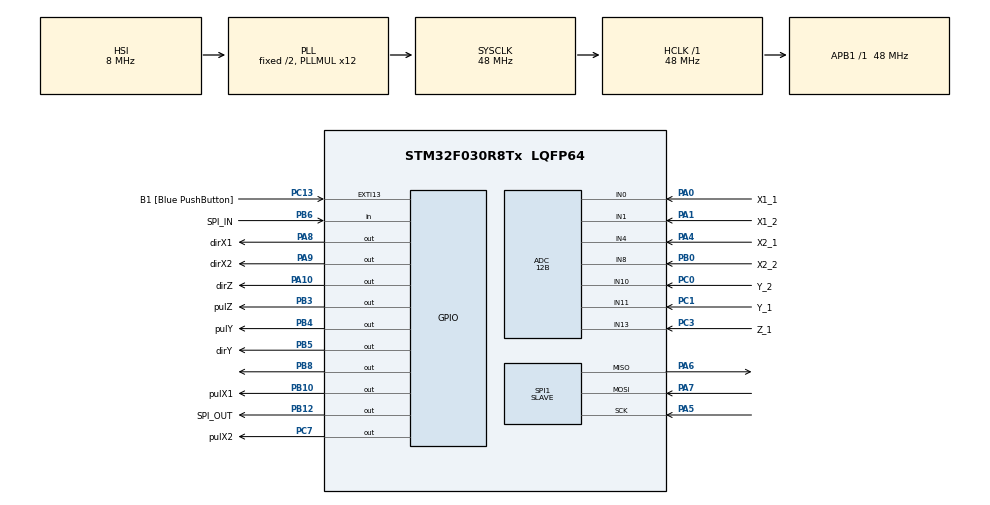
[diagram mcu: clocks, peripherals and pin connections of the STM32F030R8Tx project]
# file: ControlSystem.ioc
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ADC.ContinuousConvMode=ENABLE
ADC.DMAContinuousRequests=ENABLE
ADC.Resolution=ADC_RESOLUTION_12B
ADC.SamplingTime=ADC_SAMPLETIME_239CYCLES_5
Dma.ADC.0.Direction=DMA_PERIPH_TO_MEMORY
Dma.ADC.0.Instance=DMA1_Channel1
Dma.ADC.0.MemDataAlignment=DMA_MDATAALIGN_HALFWORD
Dma.ADC.0.MemInc=DMA_MINC_ENABLE
Dma.ADC.0.Mode=DMA_CIRCULAR
Dma.ADC.0.PeriphDataAlignment=DMA_PDATAALIGN_HALFWORD
Dma.ADC.0.PeriphInc=DMA_PINC_DISABLE
Dma.ADC.0.Priority=DMA_PRIORITY_LOW
Dma.Request0=ADC
Mcu.Family=STM32F0
Mcu.Name=STM32F030R8Tx
Mcu.Package=LQFP64
NVIC.DMA1_Channel1_IRQn=true\:0\:0\:false\:false\:true\:false\:true\:true
NVIC.SPI1_IRQn=true\:1\:0\:true\:false\:true\:true\:true\:true
NVIC.TIM14_IRQn=true\:0\:0\:false\:false\:true\:true\:true\:true
NVIC.TIM16_IRQn=true\:0\:0\:false\:false\:true\:true\:true\:true
NVIC.TIM17_IRQn=true\:0\:0\:false\:false\:true\:true\:true\:true
PA0.GPIO_Label=X1_1
PA0.Mode=IN0
PA0.Signal=ADC_IN0
PA1.GPIO_Label=X1_2
PA1.Mode=IN1
PA1.Signal=ADC_IN1
PA10.GPIO_Label=dirZ
PA10.Signal=GPIO_Output
PA13.GPIO_Label=TMS
PA13.Mode=Serial_Wire
PA13.Signal=SYS_SWDIO
PA14.GPIO_Label=TCK
PA14.Mode=Serial_Wire
PA14.Signal=SYS_SWCLK
PA2.GPIO_Label=USART_TX
PA2.GPIO_Mode=GPIO_MODE_AF_PP
PA2.GPIO_PuPd=GPIO_NOPULL
PA2.GPIO_Speed=GPIO_SPEED_FREQ_LOW
PA2.Signal=USART2_TX
PA3.GPIO_Label=USART_RX
PA3.GPIO_Mode=GPIO_MODE_AF_PP
PA3.GPIO_PuPd=GPIO_NOPULL
PA3.GPIO_Speed=GPIO_SPEED_FREQ_LOW
PA3.Signal=USART2_RX
PA4.GPIO_Label=X2_1
PA4.Mode=IN4
PA4.Signal=ADC_IN4
PA5.Mode=Full_Duplex_Slave
PA5.Signal=SPI1_SCK
PA6.Mode=Full_Duplex_Slave
PA6.Signal=SPI1_MISO
PA7.Mode=Full_Duplex_Slave
PA7.Signal=SPI1_MOSI
PA8.GPIO_Label=dirX1
PA8.Signal=GPIO_Output
PA9.GPIO_Label=dirX2
PA9.Signal=GPIO_Output
PB0.GPIO_Label=X2_2
PB0.Mode=IN8
PB0.Signal=ADC_IN8
PB10.GPIO_Label=pulX1
PB10.Signal=GPIO_Output
PB12.GPIO_Label=SPI_OUT
PB12.Signal=GPIO_Output
PB3.GPIO_Label=pulZ
PB3.Signal=GPIO_Output
PB4.GPIO_Label=pulY
PB4.Signal=GPIO_Output
PB5.GPIO_Label=dirY
PB5.Signal=GPIO_Output
PB6.GPIO_Label=SPI_IN
PB6.Signal=GPIO_Input
PB8.Signal=GPIO_Output
PC0.GPIO_Label=Y_2
PC0.Mode=IN10
PC0.Signal=ADC_IN10
PC1.GPIO_Label=Y_1
PC1.Mode=IN11
PC1.Signal=ADC_IN11
PC13.GPIO_Label=B1 [Blue PushButton]
PC13.GPIO_ModeDefaultEXTI=GPIO_MODE_IT_FALLING
PC13.Signal=GPXTI13
PC14-OSC32_IN.Mode=LSE-External-Oscillator
PC14-OSC32_IN.Signal=RCC_OSC32_IN
PC15-OSC32_OUT.Mode=LSE-External-Oscillator
PC15-OSC32_OUT.Signal=RCC_OSC32_OUT
PC3.GPIO_Label=Z_1
PC3.Mode=IN13
PC3.Signal=ADC_IN13
PC7.GPIO_Label=pulX2
PC7.Signal=GPIO_Output
PF0-OSC_IN.Mode=HSE-External-Clock-Source
PF0-OSC_IN.Signal=RCC_OSC_IN
PF1-OSC_OUT.Signal=RCC_OSC_OUT
ProjectManager.HeapSize=0x200
ProjectManager.StackSize=0x400
ProjectManager.TargetToolchain=STM32CubeIDE
RCC.AHBFreq_Value=48000000
RCC.APB1Freq_Value=48000000
RCC.APB1TimFreq_Value=48000000
RCC.HCLKFreq_Value=48000000
RCC.PLLMUL=RCC_PLL_MUL12
RCC.SYSCLKFreq_VALUE=48000000
RCC.SYSCLKSource=RCC_SYSCLKSOURCE_PLLCLK
SPI1.DataSize=SPI_DATASIZE_8BIT
SPI1.Direction=SPI_DIRECTION_2LINES
SPI1.Mode=SPI_MODE_SLAVE
SPI1.VirtualType=VM_SLAVE
TIM14.Period=4800
TIM16.Period=4800
TIM17.Period=4800
TIM17.Prescaler=0
VP_TIM14_VS_ClockSourceINT.Mode=Enable_Timer
VP_TIM16_VS_ClockSourceINT.Mode=Enable_Timer
VP_TIM17_VS_ClockSourceINT.Mode=Enable_Timer
VP_TIM1_VS_ClockSourceINT.Mode=Internal
VP_TIM1_VS_ClockSourceITR.Mode=TriggerSource_ITR3
board=NUCLEO-F030R8

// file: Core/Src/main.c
/* USER CODE BEGIN Header */
/**
  ******************************************************************************
  * @file           : main.c
  * @brief          : Main program body
  ******************************************************************************
  * @attention
  *
  * Copyright (c) 2025 STMicroelectronics.
  * All rights reserved.
  *
  * This software is licensed under terms that can be found in the LICENSE file
  * in the root directory of this software component.
  * If no LICENSE file comes with this software, it is provided AS-IS.
  *
  ******************************************************************************
  */
/* USER CODE END Header */
#include "main.h"

/* USER CODE BEGIN Includes */

#include <stdlib.h>

/* USER CODE END Includes */

/* USER CODE BEGIN PTD */

// Axis variables for code organization
typedef enum AxisNames
{
	X = 0,
	Y = 1,
	Z = 2,
	END

} Axis;

// Axis directions for calculations
typedef enum AxisOrient
{
	Pos = 0,
	Neg = 1

} Dirctn;

// States of the main code
typedef enum MainLoopStates
{
	Init = 0,
	Home = 1,
	Idle = 2,
	Move = 3,

} MainStates;

// GCode decoding variables
typedef enum GcodeFirstByte
{
	Hme = 0,
	Abs = 1,
	Rel = 2,
	Err = 9

} GcodeCMD;

typedef struct axisVariables
{
    Axis Axis;

    TIM_TypeDef* Timer;

    uint8_t MovementMask;

    uint32_t DefaultLimit;
    float Millimeters;
    float DefaultStepPerMM;

    uint16_t* Hall[2];
    uint16_t* Hall2[2];

    // Positioning variables for each axis
    uint32_t CurPos;
    uint32_t ReqPos;
    uint32_t StampPos;

    // Acceleration variables for each axis
    Dirctn Dir;
    uint16_t AccVal;

    // Limits and conversions for each axis
    // These values are theoretical and will be overwritten by homing
    uint32_t Limit;
    float StepPerMM;

} ControlSystem;

/* USER CODE END PTD */

/* USER CODE BEGIN PD */

#define AXES_NUM 3

#define GCODE_BYTES 8
#define CHECKSUM_BYTES 1

#define ADC_NUM 7

#define HALL_LOW 0x7ff

// Acceleration limitations
#define ACC_START 0
#define ACC_END 150
#define ACC_END_LOW 20

// Offset of the acceleration calculations
#define ACC_OFF 1500

// The number of steps between each acceleration
#define ACC_STEPS 100

// The highest hypothetical position allowed
#define LIM_POS 0x80000000

// Flag masks
#define X_MASK 0x01
#define Y_MASK 0x02
#define Z_MASK 0x04

#define RX_MASK 0x08
#define TX_MASK 0x10

#define HME_MASK 0x20

/* USER CODE END PD */

/* USER CODE BEGIN PM */

// Acceleration equation
#define GET_DELAY(A) (((ACC_END - Axes[A].AccVal) * 20) + ACC_OFF)

// Direction transformations
#define DIR_X2(dir) (~dir & 0x01)
#define DIR_Z(dir) (~dir & 0x01)

// Timer macros
#define STOP_TIM(A) 	(Axes[A].Timer->CR1 &= (~((uint8_t)TIM_CR1_CEN)))
#define START_TIM(A) (Axes[A].Timer->CR1 |= TIM_CR1_CEN)
#define RST_TIM(A) 	(Axes[A].Timer->CNT = 0)
#define LIM_TIM(A) 	(Axes[A].Timer->ARR)

// Movement flag macros
#define SET_MFLAG(A) (Flags = Flags | Axes[A].MovementMask)
#define RST_MFLAG(A) (Flags = Flags & ~Axes[A].MovementMask)
#define TST_MFLAG(A) (Flags & Axes[A].MovementMask)
#define TST_MFLAG_ALL() (Flags & (AxisFlagMasks[X]+AxisFlagMasks[Y]+AxisFlagMasks[Z]))

// Communication flag macros
#define SET_RXFLAG() (Flags = Flags | RX_MASK)
#define RST_RXFLAG() (Flags = Flags & ~RX_MASK)
#define TST_RXFLAG() (Flags & RX_MASK)

#define SET_TXFLAG() (Flags = Flags | TX_MASK)
#define RST_TXFLAG() (Flags = Flags & ~TX_MASK)
#define TST_TXFLAG() (Flags & TX_MASK)

// Homing flag macros
#define SET_HMEFLAG() (Flags = Flags | HME_MASK)
#define RST_HMEFLAG() (Flags = Flags & ~HME_MASK)
#define TST_HMEFLAG() (Flags & HME_MASK)

/* USER CODE END PM */

ADC_HandleTypeDef hadc;
DMA_HandleTypeDef hdma_adc;

SPI_HandleTypeDef hspi1;

TIM_HandleTypeDef htim1;
TIM_HandleTypeDef htim14;
TIM_HandleTypeDef htim16;
TIM_HandleTypeDef htim17;

/* USER CODE BEGIN PV */

// Flags for macros
const uint8_t AxisFlagMasks[AXES_NUM] = {X_MASK, Y_MASK, Z_MASK};

// Assigning timer addresses for each axis
const TIM_TypeDef* AxisTimers[AXES_NUM] = {TIM14, TIM16, TIM17};

// Default values before homing
const uint32_t 	LimitDefault[AXES_NUM] = 	{0x12ffff, 0x4ffff, 685900};
float 			LimitReal[AXES_NUM] = 		{5702.3,   1530.35, 438.15};
const float	 	StepPerMMDefault[AXES_NUM] = {214,      214,     1565.48442314};

// Buffer for ADC DMA to be mapped
uint16_t ADC_DMA_Buf[ADC_NUM] = {0};

// Assigning sensor addresses from the buffer
const uint16_t* HallNegX2 = ADC_DMA_Buf + 0;
const uint16_t* HallPosX2 = ADC_DMA_Buf + 1;
const uint16_t* HallNegX = 	ADC_DMA_Buf + 2;
const uint16_t* HallPosX = 	ADC_DMA_Buf + 3;
const uint16_t* HallNegY = 	ADC_DMA_Buf + 4;
const uint16_t* HallPosY = 	ADC_DMA_Buf + 5;
const uint16_t* HallPosZ = 	ADC_DMA_Buf + 6;

// SPI variables
uint8_t RX_Buffer [GCODE_BYTES] = {0};
uint8_t TX_Buffer [CHECKSUM_BYTES] = {0};

volatile uint32_t RXcount = 0;
volatile uint32_t TXcount = 0;

ControlSystem Axes[AXES_NUM];

// State machine variables
MainStates MainState;
volatile uint8_t Flags;

/* USER CODE END PV */

void SystemClock_Config(void);
static void MX_GPIO_Init(void);
static void MX_DMA_Init(void);
static void MX_TIM1_Init(void);
static void MX_TIM17_Init(void);
static void MX_TIM14_Init(void);
static void MX_TIM16_Init(void);
static void MX_SPI1_Init(void);
static void MX_ADC_Init(void);
/* USER CODE BEGIN PFP */

void GPIOWrite(GPIO_TypeDef* GPIOx, uint16_t GPIO_Pin, GPIO_PinState PinState);
int GPIORead(GPIO_TypeDef* GPIOx, uint16_t GPIO_Pin);
void GPIOToggle(GPIO_TypeDef* GPIOx, uint16_t GPIO_Pin);

void InitAxis(Axis A);

void Accelerate(Axis A);
void Deccelerate(Axis A);
void SetDirection(Axis A);

void LowAccelerationHandle(Axis A);
void MaxAccelerationHandle(Axis A);

void HomeAxis(Axis A);

void StopCheck(Axis A);
void StopCheckHall(Axis A);
void RequestCheck(Axis A);

uint32_t GetSPICrd(Axis A);
void ParseGCode(void);

void SetPIPinActive(void);
void SetPIPinIdle(void);
int ReadPIPin(void);

/* USER CODE END PFP */

int main(void)
{

  /* MCU Configuration--------------------------------------------------------*/

  /* Reset of all peripherals, Initializes the Flash interface and the Systick. */
  HAL_Init();

  /* Configure the system clock */
  SystemClock_Config();

  /* Initialize all configured peripherals */
  MX_GPIO_Init();
  MX_DMA_Init();
  MX_TIM1_Init();
  MX_TIM17_Init();
  MX_TIM14_Init();
  MX_TIM16_Init();
  MX_SPI1_Init();
  MX_ADC_Init();
  /* USER CODE BEGIN 2 */

  // initiate DMA mapping
  HAL_ADC_Start_DMA(&hadc, (uint32_t*)ADC_DMA_Buf, ADC_NUM);

  // Setup SPI and allot time for hardware
  HAL_SPI_Receive_IT(&hspi1, RX_Buffer, GCODE_BYTES); //Receiving in Interrupt mode
  HAL_Delay(100);

  // Set all directions to default positive
  GPIOWrite(dirX1_GPIO_Port, dirX1_Pin, Pos);
  GPIOWrite(dirX2_GPIO_Port, dirX2_Pin, DIR_X2(Pos));
  GPIOWrite(dirY_GPIO_Port,  dirY_Pin,  Pos);
  GPIOWrite(dirZ_GPIO_Port,  dirZ_Pin,  Pos);

  // Reset all stepper driving pins to
  GPIOWrite(pulX1_GPIO_Port, pulX1_Pin, GPIO_PIN_RESET);
  GPIOWrite(pulX2_GPIO_Port, pulX2_Pin, GPIO_PIN_RESET);
  GPIOWrite(pulY_GPIO_Port,  pulY_Pin,  GPIO_PIN_RESET);
  GPIOWrite(pulZ_GPIO_Port,  pulZ_Pin,  GPIO_PIN_RESET);

  // Setup all timers in interrupt mode
  HAL_TIM_Base_Start_IT(&htim14);
  HAL_TIM_Base_Start_IT(&htim16);
  HAL_TIM_Base_Start_IT(&htim17);

  // Stop all timers to stop motor movement
  for( Axis A = X; A < END; A++)
	  STOP_TIM(A);

  // Initialize all variables
  for( Axis A = X; A < END; A++)
  {
	  InitAxis(A);

	  RST_TIM(A);
	  LIM_TIM(A) = GET_DELAY(A);
  }

  MainState = Init;
  Flags = 0x00;

  //SET_HMEFLAG();

  /* USER CODE END 2 */

  /* Infinite loop */
  while (1)
  {

    /* USER CODE BEGIN 3 */

	  switch(MainState)
	  {
		  case Init:

			  MainState = Init;
			  SetPIPinIdle();

			  // Only exit Init if the PI allows
			  if(ReadPIPin())
			  {
				  if(TST_HMEFLAG())
					  MainState = Home;
				  else
					  MainState = Idle;
			  }

			  break;

		  case Home:

			  MainState = Home;
			  SetPIPinActive();

			  for( Axis A = X; A < END; A++)
				  HomeAxis(A);

			  RST_HMEFLAG();
			  MainState = Idle;

			  break;

		  case Idle:

			  MainState = Idle;
			  SetPIPinIdle();

			  // If SPI received, calculate and send checksum
			  if(TST_RXFLAG())
			  {
					TX_Buffer[0] = 0;

					for(int i = 0; i < GCODE_BYTES; i++)
					  TX_Buffer[0] += RX_Buffer[i];

					HAL_SPI_Transmit_IT(&hspi1, TX_Buffer, CHECKSUM_BYTES); //Sending in Interrupt mode

					RST_RXFLAG();
			  }

			  // If checksum sent, wait for PI confirmation or another RX
			  if(ReadPIPin() && TST_TXFLAG())
			  {
				  RST_TXFLAG();

				  ParseGCode();

				  // Check which, if any, axes need to be moved
				  for( Axis A = X; A < END; A++)
					  RequestCheck(A);

				  // If movement requested, initiate appropriate timers
				  if(TST_MFLAG_ALL())
				  {
					  MainState = Move;
					  SetPIPinActive();

					  for( Axis A = X; A < END; A++)
						  if(TST_MFLAG(A))
							  START_TIM(A);
				  }

			  }

			  if(TST_HMEFLAG())
				  MainState = Home;

			  break;

		  case Move:

			  MainState = Move;

			  // Handle accelerations
			  for( Axis A = X; A < END; A++)
				  if(TST_MFLAG(A))
					  MaxAccelerationHandle(A);

			  // Return to idle once all movement is done
			  if(TST_MFLAG_ALL() == 0)
				  MainState = Idle;

			  break;

		  default:
			  MainState = Idle;
			  break;

	  }

	  // Emergency motor stop
	  if(GPIORead(B1_GPIO_Port,  B1_Pin) == 0)
	  {
		  // Immediately stop all motors
		  for( Axis A = X; A < END; A++)
			  STOP_TIM(A);

		  // Initialize all variables
		  for( Axis A = X; A < END; A++)
		  {
			  InitAxis(A);

			  RST_TIM(A);
			  LIM_TIM(A) = GET_DELAY(A);
		  }

		  MainState = Idle;

		  // Blocking delay to hold completely idle during any button bouncing
		  HAL_Delay(100);

		  // Wait for another button press
		  while(GPIORead(B1_GPIO_Port,  B1_Pin));
	  }
  }
  /* USER CODE END 3 */
}

void SystemClock_Config(void)
{
  RCC_OscInitTypeDef RCC_OscInitStruct = {0};
  RCC_ClkInitTypeDef RCC_ClkInitStruct = {0};

  /** Initializes the RCC Oscillators according to the specified parameters
  * in the RCC_OscInitTypeDef structure.
  */
  RCC_OscInitStruct.OscillatorType = RCC_OSCILLATORTYPE_HSI|RCC_OSCILLATORTYPE_HSI14;
  RCC_OscInitStruct.HSIState = RCC_HSI_ON;
  RCC_OscInitStruct.HSI14State = RCC_HSI14_ON;
  RCC_OscInitStruct.HSICalibrationValue = RCC_HSICALIBRATION_DEFAULT;
  RCC_OscInitStruct.HSI14CalibrationValue = 16;
  RCC_OscInitStruct.PLL.PLLState = RCC_PLL_ON;
  RCC_OscInitStruct.PLL.PLLSource = RCC_PLLSOURCE_HSI;
  RCC_OscInitStruct.PLL.PLLMUL = RCC_PLL_MUL12;
  RCC_OscInitStruct.PLL.PREDIV = RCC_PREDIV_DIV1;
  if (HAL_RCC_OscConfig(&RCC_OscInitStruct) != HAL_OK)
  {
    Error_Handler();
  }

  /** Initializes the CPU, AHB and APB buses clocks
  */
  RCC_ClkInitStruct.ClockType = RCC_CLOCKTYPE_HCLK|RCC_CLOCKTYPE_SYSCLK
                              |RCC_CLOCKTYPE_PCLK1;
  RCC_ClkInitStruct.SYSCLKSource = RCC_SYSCLKSOURCE_PLLCLK;
  RCC_ClkInitStruct.AHBCLKDivider = RCC_SYSCLK_DIV1;
  RCC_ClkInitStruct.APB1CLKDivider = RCC_HCLK_DIV1;

  if (HAL_RCC_ClockConfig(&RCC_ClkInitStruct, FLASH_LATENCY_1) != HAL_OK)
  {
    Error_Handler();
  }
}

static void MX_ADC_Init(void)
{

  ADC_ChannelConfTypeDef sConfig = {0};

  /** Configure the global features of the ADC (Clock, Resolution, Data Alignment and number of conversion)
  */
  hadc.Instance = ADC1;
  hadc.Init.ClockPrescaler = ADC_CLOCK_ASYNC_DIV1;
  hadc.Init.Resolution = ADC_RESOLUTION_12B;
  hadc.Init.DataAlign = ADC_DATAALIGN_RIGHT;
  hadc.Init.ScanConvMode = ADC_SCAN_DIRECTION_FORWARD;
  hadc.Init.EOCSelection = ADC_EOC_SINGLE_CONV;
  hadc.Init.LowPowerAutoWait = DISABLE;
  hadc.Init.LowPowerAutoPowerOff = DISABLE;
  hadc.Init.ContinuousConvMode = ENABLE;
  hadc.Init.DiscontinuousConvMode = DISABLE;
  hadc.Init.ExternalTrigConv = ADC_SOFTWARE_START;
  hadc.Init.ExternalTrigConvEdge = ADC_EXTERNALTRIGCONVEDGE_NONE;
  hadc.Init.DMAContinuousRequests = ENABLE;
  hadc.Init.Overrun = ADC_OVR_DATA_PRESERVED;
  if (HAL_ADC_Init(&hadc) != HAL_OK)
  {
    Error_Handler();
  }

  /** Configure for the selected ADC regular channel to be converted.
  */
  sConfig.Channel = ADC_CHANNEL_0;
  sConfig.Rank = ADC_RANK_CHANNEL_NUMBER;
  sConfig.SamplingTime = ADC_SAMPLETIME_239CYCLES_5;
  if (HAL_ADC_ConfigChannel(&hadc, &sConfig) != HAL_OK)
  {
    Error_Handler();
  }

  /** Configure for the selected ADC regular channel to be converted.
  */
  sConfig.Channel = ADC_CHANNEL_1;
  if (HAL_ADC_ConfigChannel(&hadc, &sConfig) != HAL_OK)
  {
    Error_Handler();
  }

  /** Configure for the selected ADC regular channel to be converted.
  */
  sConfig.Channel = ADC_CHANNEL_4;
  if (HAL_ADC_ConfigChannel(&hadc, &sConfig) != HAL_OK)
  {
    Error_Handler();
  }

  /** Configure for the selected ADC regular channel to be converted.
  */
  sConfig.Channel = ADC_CHANNEL_8;
  if (HAL_ADC_ConfigChannel(&hadc, &sConfig) != HAL_OK)
  {
    Error_Handler();
  }

  /** Configure for the selected ADC regular channel to be converted.
  */
  sConfig.Channel = ADC_CHANNEL_10;
  if (HAL_ADC_ConfigChannel(&hadc, &sConfig) != HAL_OK)
  {
    Error_Handler();
  }

  /** Configure for the selected ADC regular channel to be converted.
  */
  sConfig.Channel = ADC_CHANNEL_11;
  if (HAL_ADC_ConfigChannel(&hadc, &sConfig) != HAL_OK)
  {
    Error_Handler();
  }

  /** Configure for the selected ADC regular channel to be converted.
  */
  sConfig.Channel = ADC_CHANNEL_13;
  if (HAL_ADC_ConfigChannel(&hadc, &sConfig) != HAL_OK)
  {
    Error_Handler();
  }

}

static void MX_SPI1_Init(void)
{

  /* SPI1 parameter configuration*/
  hspi1.Instance = SPI1;
  hspi1.Init.Mode = SPI_MODE_SLAVE;
  hspi1.Init.Direction = SPI_DIRECTION_2LINES;
  hspi1.Init.DataSize = SPI_DATASIZE_8BIT;
  hspi1.Init.CLKPolarity = SPI_POLARITY_LOW;
  hspi1.Init.CLKPhase = SPI_PHASE_1EDGE;
  hspi1.Init.NSS = SPI_NSS_SOFT;
  hspi1.Init.FirstBit = SPI_FIRSTBIT_MSB;
  hspi1.Init.TIMode = SPI_TIMODE_DISABLE;
  hspi1.Init.CRCCalculation = SPI_CRCCALCULATION_DISABLE;
  hspi1.Init.CRCPolynomial = 7;
  hspi1.Init.CRCLength = SPI_CRC_LENGTH_DATASIZE;
  hspi1.Init.NSSPMode = SPI_NSS_PULSE_DISABLE;
  if (HAL_SPI_Init(&hspi1) != HAL_OK)
  {
    Error_Handler();
  }

}

static void MX_TIM1_Init(void)
{

  TIM_ClockConfigTypeDef sClockSourceConfig = {0};
  TIM_SlaveConfigTypeDef sSlaveConfig = {0};
  TIM_MasterConfigTypeDef sMasterConfig = {0};

  htim1.Instance = TIM1;
  htim1.Init.Prescaler = 0;
  htim1.Init.CounterMode = TIM_COUNTERMODE_UP;
  htim1.Init.Period = 65535;
  htim1.Init.ClockDivision = TIM_CLOCKDIVISION_DIV1;
  htim1.Init.RepetitionCounter = 0;
  htim1.Init.AutoReloadPreload = TIM_AUTORELOAD_PRELOAD_DISABLE;
  if (HAL_TIM_Base_Init(&htim1) != HAL_OK)
  {
    Error_Handler();
  }
  sClockSourceConfig.ClockSource = TIM_CLOCKSOURCE_INTERNAL;
  if (HAL_TIM_ConfigClockSource(&htim1, &sClockSourceConfig) != HAL_OK)
  {
    Error_Handler();
  }
  sSlaveConfig.SlaveMode = TIM_SLAVEMODE_DISABLE;
  sSlaveConfig.InputTrigger = TIM_TS_ITR3;
  if (HAL_TIM_SlaveConfigSynchro(&htim1, &sSlaveConfig) != HAL_OK)
  {
    Error_Handler();
  }
  sMasterConfig.MasterOutputTrigger = TIM_TRGO_RESET;
  sMasterConfig.MasterSlaveMode = TIM_MASTERSLAVEMODE_DISABLE;
  if (HAL_TIMEx_MasterConfigSynchronization(&htim1, &sMasterConfig) != HAL_OK)
  {
    Error_Handler();
  }

}

static void MX_TIM14_Init(void)
{

  htim14.Instance = TIM14;
  htim14.Init.Prescaler = 0;
  htim14.Init.CounterMode = TIM_COUNTERMODE_UP;
  htim14.Init.Period = 4800;
  htim14.Init.ClockDivision = TIM_CLOCKDIVISION_DIV1;
  htim14.Init.AutoReloadPreload = TIM_AUTORELOAD_PRELOAD_DISABLE;
  if (HAL_TIM_Base_Init(&htim14) != HAL_OK)
  {
    Error_Handler();
  }

}

static void MX_TIM16_Init(void)
{

  htim16.Instance = TIM16;
  htim16.Init.Prescaler = 0;
  htim16.Init.CounterMode = TIM_COUNTERMODE_UP;
  htim16.Init.Period = 4800;
  htim16.Init.ClockDivision = TIM_CLOCKDIVISION_DIV1;
  htim16.Init.RepetitionCounter = 0;
  htim16.Init.AutoReloadPreload = TIM_AUTORELOAD_PRELOAD_DISABLE;
  if (HAL_TIM_Base_Init(&htim16) != HAL_OK)
  {
    Error_Handler();
  }

}

static void MX_TIM17_Init(void)
{

  htim17.Instance = TIM17;
  htim17.Init.Prescaler = 0;
  htim17.Init.CounterMode = TIM_COUNTERMODE_UP;
  htim17.Init.Period = 4800;
  htim17.Init.ClockDivision = TIM_CLOCKDIVISION_DIV1;
  htim17.Init.RepetitionCounter = 0;
  htim17.Init.AutoReloadPreload = TIM_AUTORELOAD_PRELOAD_DISABLE;
  if (HAL_TIM_Base_Init(&htim17) != HAL_OK)
  {
    Error_Handler();
  }

}

static void MX_DMA_Init(void)
{

  /* DMA controller clock enable */
  __HAL_RCC_DMA1_CLK_ENABLE();

  /* DMA interrupt init */
  /* DMA1_Channel1_IRQn interrupt configuration */
  HAL_NVIC_SetPriority(DMA1_Channel1_IRQn, 0, 0);
  HAL_NVIC_EnableIRQ(DMA1_Channel1_IRQn);

}

static void MX_GPIO_Init(void)
{
  GPIO_InitTypeDef GPIO_InitStruct = {0};

  /* GPIO Ports Clock Enable */
  __HAL_RCC_GPIOC_CLK_ENABLE();
  __HAL_RCC_GPIOF_CLK_ENABLE();
  __HAL_RCC_GPIOA_CLK_ENABLE();
  __HAL_RCC_GPIOB_CLK_ENABLE();

  /*Configure GPIO pin Output Level */
  HAL_GPIO_WritePin(GPIOB, pulX1_Pin|SPI_OUT_Pin|pulZ_Pin|pulY_Pin
                          |dirY_Pin|GPIO_PIN_8, GPIO_PIN_RESET);

  /*Configure GPIO pin Output Level */
  HAL_GPIO_WritePin(pulX2_GPIO_Port, pulX2_Pin, GPIO_PIN_RESET);

  /*Configure GPIO pin Output Level */
  HAL_GPIO_WritePin(GPIOA, dirX1_Pin|dirX2_Pin|dirZ_Pin, GPIO_PIN_RESET);

  /*Configure GPIO pin : B1_Pin */
  GPIO_InitStruct.Pin = B1_Pin;
  GPIO_InitStruct.Mode = GPIO_MODE_IT_FALLING;
  GPIO_InitStruct.Pull = GPIO_NOPULL;
  HAL_GPIO_Init(B1_GPIO_Port, &GPIO_InitStruct);

  /*Configure GPIO pins : USART_TX_Pin USART_RX_Pin */
  GPIO_InitStruct.Pin = USART_TX_Pin|USART_RX_Pin;
  GPIO_InitStruct.Mode = GPIO_MODE_AF_PP;
  GPIO_InitStruct.Pull = GPIO_NOPULL;
  GPIO_InitStruct.Speed = GPIO_SPEED_FREQ_LOW;
  GPIO_InitStruct.Alternate = GPIO_AF1_USART2;
  HAL_GPIO_Init(GPIOA, &GPIO_InitStruct);

  /*Configure GPIO pins : pulX1_Pin SPI_OUT_Pin pulZ_Pin pulY_Pin
                           dirY_Pin PB8 */
  GPIO_InitStruct.Pin = pulX1_Pin|SPI_OUT_Pin|pulZ_Pin|pulY_Pin
                          |dirY_Pin|GPIO_PIN_8;
  GPIO_InitStruct.Mode = GPIO_MODE_OUTPUT_PP;
  GPIO_InitStruct.Pull = GPIO_NOPULL;
  GPIO_InitStruct.Speed = GPIO_SPEED_FREQ_LOW;
  HAL_GPIO_Init(GPIOB, &GPIO_InitStruct);

  /*Configure GPIO pin : pulX2_Pin */
  GPIO_InitStruct.Pin = pulX2_Pin;
  GPIO_InitStruct.Mode = GPIO_MODE_OUTPUT_PP;
  GPIO_InitStruct.Pull = GPIO_NOPULL;
  GPIO_InitStruct.Speed = GPIO_SPEED_FREQ_LOW;
  HAL_GPIO_Init(pulX2_GPIO_Port, &GPIO_InitStruct);

  /*Configure GPIO pins : dirX1_Pin dirX2_Pin dirZ_Pin */
  GPIO_InitStruct.Pin = dirX1_Pin|dirX2_Pin|dirZ_Pin;
  GPIO_InitStruct.Mode = GPIO_MODE_OUTPUT_PP;
  GPIO_InitStruct.Pull = GPIO_NOPULL;
  GPIO_InitStruct.Speed = GPIO_SPEED_FREQ_LOW;
  HAL_GPIO_Init(GPIOA, &GPIO_InitStruct);

  /*Configure GPIO pin : SPI_IN_Pin */
  GPIO_InitStruct.Pin = SPI_IN_Pin;
  GPIO_InitStruct.Mode = GPIO_MODE_INPUT;
  GPIO_InitStruct.Pull = GPIO_NOPULL;
  HAL_GPIO_Init(SPI_IN_GPIO_Port, &GPIO_InitStruct);

}

/* USER CODE BEGIN 4 */

/**
  * @brief Writes a digital value to GPIO
  * @param GPIOx	The GPIO register
  * @param GPIO_Pin	The register bit
  * @param PinState	The value to write
  * @retval None
  */
void GPIOWrite(GPIO_TypeDef* GPIOx, uint16_t GPIO_Pin, GPIO_PinState PinState)
{
	  if (PinState)
	    GPIOx->BSRR = (uint32_t)GPIO_Pin;
	  else
	    GPIOx->BRR = (uint32_t)GPIO_Pin;
}

/**
  * @brief Reads a digital value from GPIO
  * @param GPIOx	The GPIO register
  * @param GPIO_Pin	The register bit
  * @retval The GPIO value
  */
int GPIORead(GPIO_TypeDef* GPIOx, uint16_t GPIO_Pin)
{
	  if (GPIOx->IDR & GPIO_Pin)
		  return GPIO_PIN_SET;
	  else
		  return GPIO_PIN_RESET;
}

/**
  * @brief Toggles a GPIO pin
  * @param GPIOx	The GPIO register
  * @param GPIO_Pin	The register bit
  * @retval None
  */
void GPIOToggle(GPIO_TypeDef* GPIOx, uint16_t GPIO_Pin)
{
	  GPIOx->BSRR = ((GPIOx->ODR & GPIO_Pin) << 16U) | (~(GPIOx->ODR) & GPIO_Pin);
}

/**
  * @brief intitializes Axis control variables
  * @param A 	The axis to apply to
  * @retval None
  */
void InitAxis(Axis A)
{
	  Axes[A].Axis = A;
	  Axes[A].Timer = (TIM_TypeDef*)AxisTimers[A];
	  Axes[A].MovementMask = AxisFlagMasks[A];
	  Axes[A].DefaultLimit = LimitDefault[A];
	  Axes[A].Millimeters = LimitReal[A];
	  Axes[A].DefaultStepPerMM = StepPerMMDefault[A];

	  switch(A)
	  {
	  	  case X:
			  Axes[A].Hall[Pos] = (uint16_t*)HallPosX;
			  Axes[A].Hall[Neg] = (uint16_t*)HallNegX;
			  Axes[A].Hall2[Pos] = (uint16_t*)HallPosX2;
			  Axes[A].Hall2[Neg] = (uint16_t*)HallNegX2;
	  		  break;

	  	  case Y:
			  Axes[A].Hall[Pos] = (uint16_t*)HallPosY;
			  Axes[A].Hall[Neg] = (uint16_t*)HallNegY;
			  Axes[A].Hall2[Pos] = (uint16_t*)HallPosY;
			  Axes[A].Hall2[Neg] = (uint16_t*)HallNegY;
	  		  break;

	  	  case Z:
			  Axes[A].Hall[Pos] = (uint16_t*)HallPosZ;
			  Axes[A].Hall[Neg] = (uint16_t*)HallPosZ;
			  Axes[A].Hall2[Pos] = (uint16_t*)HallPosZ;
			  Axes[A].Hall2[Neg] = (uint16_t*)HallPosZ;
	  		  break;

	  	  default:
	  		  break;
	  }

	  Axes[A].CurPos = 0;
	  Axes[A].ReqPos = 0;
	  Axes[A].StampPos = 0;
	  Axes[A].Dir = Pos;
	  Axes[A].AccVal = ACC_START;
	  Axes[A].Limit = Axes[A].DefaultLimit;
	  Axes[A].StepPerMM = Axes[A].DefaultStepPerMM;
}

/**
  * @brief Accelerates if applicable
  * @param A	The axis to apply to
  * @retval None
  */
void Accelerate(Axis A)
{
	if(Axes[A].AccVal >= ACC_END)
		Axes[A].AccVal = ACC_END;
	else
		Axes[A].AccVal++;

	return;
}

/**
  * @brief Deccelerates if applicable
  * @param A	The axis to apply to
  * @retval None
  */
void Deccelerate(Axis A)
{
	if(Axes[A].AccVal <= ACC_START)
		Axes[A].AccVal = ACC_START;
	else
		Axes[A].AccVal--;

	return;
}

/**
  * @brief Sets the direction of the motors
  * @param A	The axis to apply to
  * @retval None
  */
void SetDirection(Axis A)
{
	switch(A)
	{
		case X:
			if(Axes[X].Dir)
			{
				GPIOWrite(dirX1_GPIO_Port, dirX1_Pin, Neg);
				GPIOWrite(dirX2_GPIO_Port, dirX2_Pin, DIR_X2(Neg));
			}
			else
			{
				GPIOWrite(dirX1_GPIO_Port, dirX1_Pin, Pos);
				GPIOWrite(dirX2_GPIO_Port, dirX2_Pin, DIR_X2(Pos));
			}
			break;

		case Y:
			if(Axes[Y].Dir)
				GPIOWrite(dirY_GPIO_Port,  dirY_Pin,  Neg);
			else
				GPIOWrite(dirY_GPIO_Port,  dirY_Pin,  Pos);
			break;

		case Z:
			if(Axes[Z].Dir)
				GPIOWrite(dirZ_GPIO_Port,  dirZ_Pin,  DIR_Z(Neg));
			else
				GPIOWrite(dirZ_GPIO_Port,  dirZ_Pin,  DIR_Z(Pos));
			break;

		default:
			break;
	}
}

/**
  * @brief Determines the type of acceleration needed and calls the appropriate function, accelerates to a smaller value
  * @param A	The axis to apply to
  * @retval None
  */
void LowAccelerationHandle(Axis A)
{
	if(abs((int)Axes[A].CurPos - (int)Axes[A].StampPos) > ACC_STEPS)
	{
		if(abs((int)Axes[A].ReqPos - (int)Axes[A].CurPos) > Axes[A].AccVal)
		{
			if(Axes[A].AccVal <= ACC_END_LOW)
				Accelerate(A);
		}
		else
			Deccelerate(A);

	  LIM_TIM(A) =  GET_DELAY(A);
	  Axes[A].StampPos = Axes[A].CurPos;
	}
}

/**
  * @brief Determines the type of acceleration needed and calls the appropriate function
  * @param A	The axis to apply to
  * @retval None
  */
void MaxAccelerationHandle(Axis A)
{
	if(abs((int)Axes[A].CurPos - (int)Axes[A].StampPos) > ACC_STEPS)
	{
	  if(abs((int)Axes[A].ReqPos - (int)Axes[A].CurPos) > Axes[A].AccVal * ACC_STEPS)
			Accelerate(A);
		else
			Deccelerate(A);

	  LIM_TIM(A) =  GET_DELAY(A);
	  Axes[A].StampPos = Axes[A].CurPos;
	}
}

/**
  * @brief Determines and sets the limit values
  * @param A	The axis to apply to
  * @retval None
  */
void HomeAxis(Axis A)
{
	switch(A)
	{
		case X:

			// Set requested position to reasonably theoretical limit in the positive direction
			Axes[X].CurPos = 0;
			Axes[X].ReqPos = Axes[X].DefaultLimit;
			SET_MFLAG(X);

			Axes[X].Dir = Pos;
			SetDirection(X);

			// Reset movement values and start timer
			Axes[X].AccVal = ACC_START;
			Axes[X].StampPos = Axes[X].CurPos;

			RST_TIM(X);
			LIM_TIM(X) =  GET_DELAY(X);

			START_TIM(X);

			// Wait for Hall sensor to trigger and stop
			while(*HallPosX > HALL_LOW || *HallPosX2 > HALL_LOW)
			{
			  LowAccelerationHandle(X); // Accelerate to a lower than normal because deceleration is impossible to predict

			  if(TST_MFLAG(X))
				  break;
			}

			STOP_TIM(X);

			// Set current position to reasonably theoretical limit and move in the negative direction
			Axes[X].CurPos = Axes[X].DefaultLimit;
			Axes[X].ReqPos = 0;

			Axes[X].Dir = Neg;
			SetDirection(X);

			// Reset movement values and start timer
			Axes[X].AccVal = ACC_START;
			Axes[X].StampPos = Axes[X].CurPos;

			RST_TIM(X);
			LIM_TIM(X) =  GET_DELAY(X);

			START_TIM(X);

			// Wait for Hall sensor to trigger and stop
			while(*HallNegX > HALL_LOW || *HallNegX2 > HALL_LOW)
			{
			  LowAccelerationHandle(X); // Accelerate to a lower than normal because deceleration is impossible to predict

			  if(TST_MFLAG(X))
				  break;
			}

			STOP_TIM(X);

			// Calculate the exact limit and ratio and set position to 0
			Axes[X].Limit = Axes[X].DefaultLimit - Axes[X].CurPos;
			Axes[X].StepPerMM = Axes[X].Limit / Axes[X].Millimeters;

			Axes[X].CurPos = 0;

			RST_MFLAG(X);

			break;

		case Y:

			// Set requested position to reasonably theoretical limit in the positive direction
			Axes[Y].CurPos = 0;
			Axes[Y].ReqPos = Axes[Y].DefaultLimit;
			SET_MFLAG(Y);

			Axes[Y].Dir = Pos;
			SetDirection(Y);

			// Reset movement values and start timer
			Axes[Y].AccVal = ACC_START;
			Axes[Y].StampPos = Axes[Y].CurPos;

			RST_TIM(Y);
			LIM_TIM(Y) =  GET_DELAY(Y);

			START_TIM(Y);

			// Wait for Hall sensor to trigger and stop
			while(*HallPosY > HALL_LOW)
			{
			  LowAccelerationHandle(Y); // Accelerate to a lower than normal because deceleration is impossible to predict

			  if(TST_MFLAG(X))
				  break;
			}

			STOP_TIM(Y);

			// Set current position to reasonably theoretical limit and move in the negative direction
			Axes[Y].CurPos = Axes[Y].DefaultLimit;
			Axes[Y].ReqPos = 0;

			Axes[Y].Dir = Neg;
			SetDirection(Y);

			// Reset movement values and start timer
			Axes[Y].AccVal = ACC_START;
			Axes[Y].StampPos = Axes[Y].CurPos;

			RST_TIM(Y);
			LIM_TIM(Y) =  GET_DELAY(Y);

			START_TIM(Y);

			// Wait for Hall sensor to trigger and stop
			while(*HallNegY > HALL_LOW)
			{
			  LowAccelerationHandle(Y);  // Accelerate to a lower than normal because deceleration is impossible to predict

			  if(TST_MFLAG(Y))
				  break;
			}

			STOP_TIM(Y);

			// Calculate the exact limit and ratio and set position to 0
			Axes[Y].Limit = Axes[Y].DefaultLimit - Axes[Y].CurPos;
			Axes[Y].StepPerMM = Axes[Y].Limit / Axes[Y].Millimeters;

			Axes[Y].CurPos = 0;

			RST_MFLAG(Y);

			break;

		case Z:

			// Set current position to reasonably theoretical limit and move in the negative direction
			Axes[Z].CurPos = Axes[Z].DefaultLimit;
			Axes[Z].ReqPos = 0;
			SET_MFLAG(Z);

			Axes[Z].Dir = Neg;
			SetDirection(Z);

			// Reset movement values and start timer
			Axes[Z].AccVal = ACC_START;
			Axes[Z].StampPos = Axes[Z].CurPos;

			RST_TIM(Z);
			LIM_TIM(Z) =  GET_DELAY(Z);

			START_TIM(Z);

			// Wait for Hall sensor to trigger and stop
			while(*HallPosZ > HALL_LOW)
			{
			  LowAccelerationHandle(Z); // Accelerate to a lower than normal because deceleration is impossible to predict

			  if(TST_MFLAG(Z))
				  break;
			}

			STOP_TIM(Z);

			Axes[Z].Limit = Axes[Z].DefaultLimit;
			Axes[Z].StepPerMM = Axes[Z].Limit / Axes[Z].Millimeters;

			// Set position to 0
			Axes[Z].CurPos = 0;

			RST_MFLAG(Z);

			break;

		default:
			break;
	}
}

/**
  * @brief Checks if the requested value has been reached and stops movement if so
  * @param A	The axis to apply to
  * @retval None
  */
void StopCheck(Axis A)
{
	// Direction determines the logical operation that determines if we've met or passed the requested position
	if(Axes[A].Dir)
	{
	  if(Axes[A].CurPos <= Axes[A].ReqPos)
	  {
		  STOP_TIM(A);
		  Axes[A].AccVal = 0;
		  RST_MFLAG(A);
	  }
	}
	else
	{
	  if(Axes[A].CurPos >= Axes[A].ReqPos)
	  {
		  STOP_TIM(A);
		  Axes[A].AccVal = 0;
		  RST_MFLAG(A);
	  }
	}
}

/**
  * @brief Checks if the Hall sensor has been reached and stops movement if so
  * @param A	The axis to apply to
  * @retval None
  */
void StopCheckHall(Axis A)
{

	if(*(Axes[A].Hall[Axes[A].Dir]) < HALL_LOW  && *(Axes[A].Hall2[Axes[A].Dir]) < HALL_LOW )
	{
		  STOP_TIM(A);
		  Axes[A].AccVal = 0;
		  RST_MFLAG(A);
	}
}

/**
  * @brief Checks if the requested value has changed and sets flags if so
  * @param A	The axis to apply to
  * @retval None
  */
void RequestCheck(Axis A)
{
	// If the position is off by more than one half a MM, set movement flags
	if(abs((int)Axes[A].CurPos - (int)Axes[A].ReqPos) > (Axes[A].StepPerMM / 2))
	{
	  if(Axes[A].CurPos > Axes[A].ReqPos)
		  Axes[A].Dir = Neg;
	  else
		  Axes[A].Dir = Pos;

	  SetDirection(A);

	  Axes[A].AccVal = ACC_START;
	  Axes[A].StampPos = Axes[A].CurPos;

	  SET_MFLAG(A);

	  RST_TIM(A);
	  LIM_TIM(A) =  GET_DELAY(A);
	}
}

/**
  * @brief Converts the SPI mm values to step values
  * @param A	The axis to apply to
  * @retval The step value
  */
uint32_t GetSPICrd(Axis A)
{
	return (uint32_t)(((RX_Buffer[(2*A) + 2] & 0x7) << 8) + RX_Buffer[(2*A) + 3]) * Axes[A].StepPerMM;
}

/**
  * @brief Determines the GCode operation and executes it
  * @param None
  * @retval None
  */
void ParseGCode(void)
{
	switch((GcodeCMD)RX_Buffer[0])
	{
		case Hme:
			SET_HMEFLAG();
			break;

		case Abs:

			Axes[X].ReqPos = GetSPICrd(X);
			Axes[Y].ReqPos = GetSPICrd(Y);
			Axes[Z].ReqPos = GetSPICrd(Z);

			break;

		case Rel:

			if(RX_Buffer[2] & 0x80)
				Axes[X].ReqPos -= GetSPICrd(X);
			else
				Axes[X].ReqPos += GetSPICrd(X);

			if(RX_Buffer[4] & 0x80)
				Axes[Y].ReqPos -= GetSPICrd(Y);
			else
				Axes[Y].ReqPos += GetSPICrd(Y);

			if(RX_Buffer[6] & 0x80)
				Axes[Z].ReqPos -= GetSPICrd(Z);
			else
				Axes[Z].ReqPos += GetSPICrd(Z);

			break;

		case Err:
			HAL_NVIC_SystemReset();
			break;

		default:
			break;

	}

	// Assure that requested position did not overflow or go out of range
	for(Axis A = X; A < END; A++)
		if(Axes[A].ReqPos & LIM_POS)
			Axes[A].ReqPos = 0;
		else if (Axes[A].ReqPos > Axes[A].Limit)
			Axes[A].ReqPos = Axes[A].Limit;
}

/**
  * @brief Sets the PI GPIO indicator to low to communicate activity
  * @param None
  * @retval None
  */
void SetPIPinActive(void)
{
	GPIOWrite(SPI_OUT_GPIO_Port,  SPI_OUT_Pin,  GPIO_PIN_RESET);
}

/**
  * @brief Sets the PI GPIO indicator to high to communicate inactivity
  * @param None
  * @retval None
  */
void SetPIPinIdle(void)
{
	GPIOWrite(SPI_OUT_GPIO_Port,  SPI_OUT_Pin,  GPIO_PIN_SET);
}

/**
  * @brief Reads the PI GPIO indicator
  * @param None
  * @retval None
  */
int ReadPIPin(void)
{
	return GPIORead(SPI_IN_GPIO_Port,  SPI_IN_Pin);
}

/*
 *
 * 		Interrupt functions
 *
 */

void HAL_TIM_PeriodElapsedCallback(TIM_HandleTypeDef *htim)
{
	// no switch here because of compile reduction :(

	// Check the timer instance and toggle the appropriate axis
	// Additionally increment and evaluate the current position

	if(htim->Instance == Axes[X].Timer)
	{
		StopCheckHall(X);

		if(*(Axes[X].Hall[Axes[X].Dir]) > HALL_LOW)
			GPIOToggle(pulX1_GPIO_Port, pulX1_Pin);

		if(*(Axes[X].Hall2[Axes[X].Dir]) > HALL_LOW)
			GPIOToggle(pulX2_GPIO_Port, pulX2_Pin);

		if(Axes[X].Dir)
			Axes[X].CurPos--;
		else
			Axes[X].CurPos++;

		if(Axes[X].CurPos & LIM_POS)
			Axes[X].CurPos = 0;

		StopCheck(X);

		return;
	}
	else if(htim->Instance == Axes[Y].Timer)
	{
		StopCheckHall(Y);

		GPIOToggle(pulY_GPIO_Port,  pulY_Pin);

		if(Axes[Y].Dir)
			Axes[Y].CurPos--;
		else
			Axes[Y].CurPos++;

		if(Axes[Y].CurPos & LIM_POS)
			Axes[Y].CurPos = 0;

		StopCheck(Y);

		return;
	}
	else if(htim->Instance == Axes[Z].Timer)
	{
		StopCheckHall(Z);

		GPIOToggle(pulZ_GPIO_Port,  pulZ_Pin);

		if(Axes[Z].Dir)
			Axes[Z].CurPos--;
		else
			Axes[Z].CurPos++;

		if(Axes[Z].CurPos & LIM_POS)
			Axes[Z].CurPos = 0;

		StopCheck(Z);

		return;
	}

}

// This is called when SPI transmit is done
void HAL_SPI_TxCpltCallback (SPI_HandleTypeDef * hspi)
{
	SetPIPinActive();

	TXcount++;
	SET_TXFLAG();

	// Call for another RX handler only after sending a TX response to avoid overwhelming
	HAL_SPI_Receive_IT(&hspi1, RX_Buffer, GCODE_BYTES);

	SetPIPinIdle();
}

// This is called when SPI receive is done
void HAL_SPI_RxCpltCallback (SPI_HandleTypeDef * hspi)
{
	SetPIPinActive();

	RXcount++;
	SET_RXFLAG();

	SetPIPinIdle();
}

/* USER CODE END 4 */

void Error_Handler(void)
{
  __disable_irq();
  while (1)
  {
  }
}
